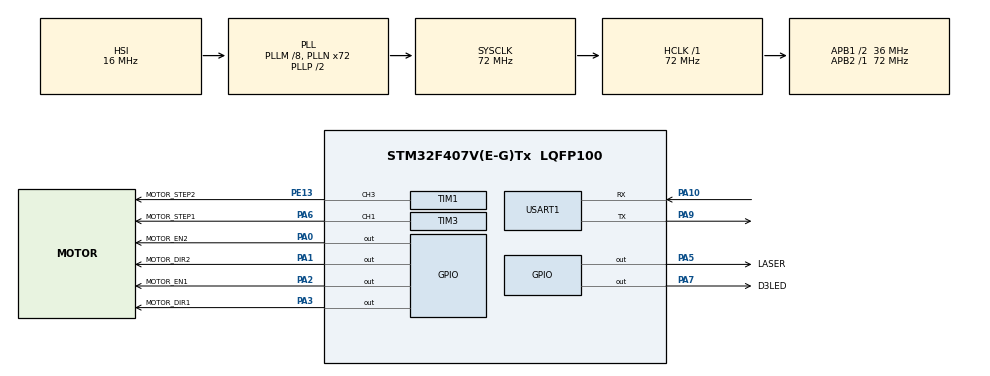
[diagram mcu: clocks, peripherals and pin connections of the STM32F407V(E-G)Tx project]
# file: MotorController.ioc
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Mcu.Family=STM32F4
Mcu.Name=STM32F407V(E-G)Tx
Mcu.Package=LQFP100
NVIC.PriorityGroup=NVIC_PRIORITYGROUP_4
NVIC.USART1_IRQn=true\:3\:0\:true\:false\:true\:true\:true\:true
PA0-WKUP.GPIO_Label=MOTOR_EN2
PA0-WKUP.Signal=GPIO_Output
PA1.GPIO_Label=MOTOR_DIR2
PA1.Signal=GPIO_Output
PA10.Mode=Asynchronous
PA10.Signal=USART1_RX
PA2.GPIO_Label=MOTOR_EN1
PA2.Signal=GPIO_Output
PA3.GPIO_Label=MOTOR_DIR1
PA3.Signal=GPIO_Output
PA5.GPIO_Label=LASER
PA5.Signal=GPIO_Output
PA6.GPIO_Label=MOTOR_STEP1
PA6.Signal=S_TIM3_CH1
PA7.GPIO_Label=D3LED
PA7.Signal=GPIO_Output
PA9.Mode=Asynchronous
PA9.Signal=USART1_TX
PE13.GPIO_Label=MOTOR_STEP2
PE13.Signal=S_TIM1_CH3
ProjectManager.HeapSize=0x200
ProjectManager.StackSize=0x400
ProjectManager.TargetToolchain=CMake
RCC.48MHZClocksFreq_Value=36000000
RCC.AHBFreq_Value=72000000
RCC.APB1CLKDivider=RCC_HCLK_DIV2
RCC.APB1Freq_Value=36000000
RCC.APB1TimFreq_Value=72000000
RCC.APB2Freq_Value=72000000
RCC.APB2TimFreq_Value=72000000
RCC.CortexFreq_Value=72000000
RCC.HCLKFreq_Value=72000000
RCC.HSE_VALUE=25000000
RCC.HSI_VALUE=16000000
RCC.LSE_VALUE=32768
RCC.PLLM=8
RCC.PLLN=72
RCC.SYSCLKFreq_VALUE=72000000
RCC.SYSCLKSource=RCC_SYSCLKSOURCE_PLLCLK
RCC.VCOOutputFreq_Value=144000000
SH.S_TIM1_CH3.0=TIM1_CH3,PWM Generation3 CH3
SH.S_TIM3_CH1.0=TIM3_CH1,PWM Generation1 CH1
TIM1.AutoReloadPreload=TIM_AUTORELOAD_PRELOAD_ENABLE
TIM1.AutomaticOutput=TIM_AUTOMATICOUTPUT_ENABLE
TIM1.Channel-PWM\ Generation3\ CH3=TIM_CHANNEL_3
TIM1.OCFastMode_PWM-PWM\ Generation3\ CH3=TIM_OCFAST_ENABLE
TIM1.Period=999
TIM1.Prescaler=71
TIM1.Pulse-PWM\ Generation3\ CH3=500
TIM3.AutoReloadPreload=TIM_AUTORELOAD_PRELOAD_ENABLE
TIM3.Channel-PWM\ Generation1\ CH1=TIM_CHANNEL_1
TIM3.OCFastMode_PWM-PWM\ Generation1\ CH1=TIM_OCFAST_ENABLE
TIM3.Period=999
TIM3.Prescaler=71
TIM3.Pulse-PWM\ Generation1\ CH1=500
USART1.VirtualMode=VM_ASYNC
board=custom

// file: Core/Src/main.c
/* USER CODE BEGIN Header */
/**
 ******************************************************************************
 * @file           : main.c
 * @brief          : Main program body
 ******************************************************************************
 * @attention
 *
 * Copyright (c) 2026 STMicroelectronics.
 * All rights reserved.
 *
 * This software is licensed under terms that can be found in the LICENSE file
 * in the root directory of this software component.
 * If no LICENSE file comes with this software, it is provided AS-IS.
 *
 ******************************************************************************
 */
/* USER CODE END Header */
#include "main.h"

/* USER CODE BEGIN Includes */
#include "motion_ctrl.h"
#include "uart_parser.h"

/* USER CODE END Includes */

TIM_HandleTypeDef htim1;
TIM_HandleTypeDef htim3;

UART_HandleTypeDef huart1;

/* USER CODE BEGIN PV */
static uint32_t s_last_ctrl_tick = 0U;
static uint32_t s_last_laser_cycle = 0U;
static uint32_t s_laser_pwm_toggle_cycles = 0U;
static uint32_t s_laser_idle_toggle_cycles = 0U;
static const uint32_t s_laser_frequency_hz = 38000U; // 38kHz required by doc.md
static const uint32_t s_laser_idle_hz = 50U;         // 50Hz idle aiming
static const UartParserMode_t s_uart_mode = UART_PARSER_MODE_IT;

// State machine variables for laser commands
static uint8_t s_laser_cmd_type = 0;
static uint8_t s_laser_pulse_count = 0;
static uint32_t s_laser_state_tick = 0U;
static enum {
    LASER_IDLE,
    LASER_PULSE_ON,
    LASER_PULSE_OFF
} s_laser_state = LASER_IDLE;
/* USER CODE END PV */

void SystemClock_Config(void);
static void MX_GPIO_Init(void);
static void MX_TIM3_Init(void);
static void MX_USART1_UART_Init(void);
static void MX_TIM1_Init(void);

/* USER CODE BEGIN 0 */
void App_StartLaserCmd(uint8_t cmd) {
    if (cmd == 1 || cmd == 2 || cmd == 3) {
        s_laser_cmd_type = cmd;
        s_laser_pulse_count = 0;
        s_laser_state = LASER_PULSE_ON;
        s_laser_state_tick = HAL_GetTick();
    }
}

static void LaserTiming_Init(void) {
    CoreDebug->DEMCR |= CoreDebug_DEMCR_TRCENA_Msk;
    DWT->CYCCNT = 0U;
    DWT->CTRL |= DWT_CTRL_CYCCNTENA_Msk;

    s_laser_pwm_toggle_cycles = HAL_RCC_GetHCLKFreq() / (2U * s_laser_frequency_hz);
    if (s_laser_pwm_toggle_cycles == 0U) {
        s_laser_pwm_toggle_cycles = 1U;
    }
    s_laser_idle_toggle_cycles = HAL_RCC_GetHCLKFreq() / (2U * s_laser_idle_hz);
    s_last_laser_cycle = DWT->CYCCNT;
}

/* USER CODE END 0 */

int main(void)
{

  /* MCU Configuration--------------------------------------------------------*/

  /* Reset of all peripherals, Initializes the Flash interface and the Systick. */
  HAL_Init();

  /* Configure the system clock */
  SystemClock_Config();

  /* Initialize all configured peripherals */
  MX_GPIO_Init();
  MX_TIM3_Init();
  MX_USART1_UART_Init();
  MX_TIM1_Init();
  /* USER CODE BEGIN 2 */
    LaserTiming_Init();
    MotionCtrl_Init();
    if (UartParser_Init(&huart1, s_uart_mode) != HAL_OK) {
        Error_Handler();
    }

  /* USER CODE END 2 */

  /* Infinite loop */
    while (1) {

    /* USER CODE BEGIN 3 */
        uint32_t now_cycle = DWT->CYCCNT;

        if (s_laser_state == LASER_IDLE) {
            // Restore 50Hz idle pulsing so the laser is visible for aiming
            if ((now_cycle - s_last_laser_cycle) >= s_laser_idle_toggle_cycles) {
                s_last_laser_cycle = now_cycle;
                HAL_GPIO_TogglePin(LASER_GPIO_Port, LASER_Pin);
            }
        }
        else if (s_laser_state == LASER_PULSE_ON) {
            // Software 38kHz PWM
            if ((now_cycle - s_last_laser_cycle) >= s_laser_pwm_toggle_cycles) {
                s_last_laser_cycle = now_cycle;
                HAL_GPIO_TogglePin(LASER_GPIO_Port, LASER_Pin);
            }

            uint16_t duration = (s_laser_cmd_type == 1) ? 2 : ((s_laser_cmd_type == 2) ? 4 : 6);
            if ((HAL_GetTick() - s_laser_state_tick) >= duration) {
                s_laser_state = LASER_PULSE_OFF;
                s_laser_state_tick = HAL_GetTick();
                HAL_GPIO_WritePin(LASER_GPIO_Port, LASER_Pin, GPIO_PIN_RESET);
            }
        } else if (s_laser_state == LASER_PULSE_OFF) {
            if ((HAL_GetTick() - s_laser_state_tick) >= 10) {
                s_laser_pulse_count++;
                if (s_laser_pulse_count >= 3) {
                    s_laser_state = LASER_IDLE;
                    s_laser_cmd_type = 0;
                } else {
                    s_laser_state = LASER_PULSE_ON;
                    s_laser_state_tick = HAL_GetTick();
                }
            }
        }

        if ((HAL_GetTick() - s_last_ctrl_tick) >= 1U) {
            s_last_ctrl_tick = HAL_GetTick();
            MotionCtrl_1msTask();
        }
    }
  /* USER CODE END 3 */
}

void SystemClock_Config(void)
{
  RCC_OscInitTypeDef RCC_OscInitStruct = {0};
  RCC_ClkInitTypeDef RCC_ClkInitStruct = {0};

  /** Configure the main internal regulator output voltage
  */
  __HAL_RCC_PWR_CLK_ENABLE();
  __HAL_PWR_VOLTAGESCALING_CONFIG(PWR_REGULATOR_VOLTAGE_SCALE1);

  /** Initializes the RCC Oscillators according to the specified parameters
  * in the RCC_OscInitTypeDef structure.
  */
  RCC_OscInitStruct.OscillatorType = RCC_OSCILLATORTYPE_HSI;
  RCC_OscInitStruct.HSIState = RCC_HSI_ON;
  RCC_OscInitStruct.HSICalibrationValue = RCC_HSICALIBRATION_DEFAULT;
  RCC_OscInitStruct.PLL.PLLState = RCC_PLL_ON;
  RCC_OscInitStruct.PLL.PLLSource = RCC_PLLSOURCE_HSI;
  RCC_OscInitStruct.PLL.PLLM = 8;
  RCC_OscInitStruct.PLL.PLLN = 72;
  RCC_OscInitStruct.PLL.PLLP = RCC_PLLP_DIV2;
  RCC_OscInitStruct.PLL.PLLQ = 4;
  if (HAL_RCC_OscConfig(&RCC_OscInitStruct) != HAL_OK)
  {
    Error_Handler();
  }

  /** Initializes the CPU, AHB and APB buses clocks
  */
  RCC_ClkInitStruct.ClockType = RCC_CLOCKTYPE_HCLK|RCC_CLOCKTYPE_SYSCLK
                              |RCC_CLOCKTYPE_PCLK1|RCC_CLOCKTYPE_PCLK2;
  RCC_ClkInitStruct.SYSCLKSource = RCC_SYSCLKSOURCE_PLLCLK;
  RCC_ClkInitStruct.AHBCLKDivider = RCC_SYSCLK_DIV1;
  RCC_ClkInitStruct.APB1CLKDivider = RCC_HCLK_DIV2;
  RCC_ClkInitStruct.APB2CLKDivider = RCC_HCLK_DIV1;

  if (HAL_RCC_ClockConfig(&RCC_ClkInitStruct, FLASH_LATENCY_2) != HAL_OK)
  {
    Error_Handler();
  }
}

static void MX_TIM1_Init(void)
{

  TIM_MasterConfigTypeDef sMasterConfig = {0};
  TIM_OC_InitTypeDef sConfigOC = {0};
  TIM_BreakDeadTimeConfigTypeDef sBreakDeadTimeConfig = {0};

  htim1.Instance = TIM1;
  htim1.Init.Prescaler = 71;
  htim1.Init.CounterMode = TIM_COUNTERMODE_UP;
  htim1.Init.Period = 999;
  htim1.Init.ClockDivision = TIM_CLOCKDIVISION_DIV1;
  htim1.Init.RepetitionCounter = 0;
  htim1.Init.AutoReloadPreload = TIM_AUTORELOAD_PRELOAD_ENABLE;
  if (HAL_TIM_PWM_Init(&htim1) != HAL_OK)
  {
    Error_Handler();
  }
  sMasterConfig.MasterOutputTrigger = TIM_TRGO_RESET;
  sMasterConfig.MasterSlaveMode = TIM_MASTERSLAVEMODE_DISABLE;
  if (HAL_TIMEx_MasterConfigSynchronization(&htim1, &sMasterConfig) != HAL_OK)
  {
    Error_Handler();
  }
  sConfigOC.OCMode = TIM_OCMODE_PWM1;
  sConfigOC.Pulse = 500;
  sConfigOC.OCPolarity = TIM_OCPOLARITY_HIGH;
  sConfigOC.OCNPolarity = TIM_OCNPOLARITY_HIGH;
  sConfigOC.OCFastMode = TIM_OCFAST_ENABLE;
  sConfigOC.OCIdleState = TIM_OCIDLESTATE_RESET;
  sConfigOC.OCNIdleState = TIM_OCNIDLESTATE_RESET;
  if (HAL_TIM_PWM_ConfigChannel(&htim1, &sConfigOC, TIM_CHANNEL_3) != HAL_OK)
  {
    Error_Handler();
  }
  sBreakDeadTimeConfig.OffStateRunMode = TIM_OSSR_DISABLE;
  sBreakDeadTimeConfig.OffStateIDLEMode = TIM_OSSI_DISABLE;
  sBreakDeadTimeConfig.LockLevel = TIM_LOCKLEVEL_OFF;
  sBreakDeadTimeConfig.DeadTime = 0;
  sBreakDeadTimeConfig.BreakState = TIM_BREAK_DISABLE;
  sBreakDeadTimeConfig.BreakPolarity = TIM_BREAKPOLARITY_HIGH;
  sBreakDeadTimeConfig.AutomaticOutput = TIM_AUTOMATICOUTPUT_ENABLE;
  if (HAL_TIMEx_ConfigBreakDeadTime(&htim1, &sBreakDeadTimeConfig) != HAL_OK)
  {
    Error_Handler();
  }
  HAL_TIM_MspPostInit(&htim1);

}

static void MX_TIM3_Init(void)
{

  TIM_MasterConfigTypeDef sMasterConfig = {0};
  TIM_OC_InitTypeDef sConfigOC = {0};

  htim3.Instance = TIM3;
  htim3.Init.Prescaler = 71;
  htim3.Init.CounterMode = TIM_COUNTERMODE_UP;
  htim3.Init.Period = 999;
  htim3.Init.ClockDivision = TIM_CLOCKDIVISION_DIV1;
  htim3.Init.AutoReloadPreload = TIM_AUTORELOAD_PRELOAD_ENABLE;
  if (HAL_TIM_PWM_Init(&htim3) != HAL_OK)
  {
    Error_Handler();
  }
  sMasterConfig.MasterOutputTrigger = TIM_TRGO_RESET;
  sMasterConfig.MasterSlaveMode = TIM_MASTERSLAVEMODE_DISABLE;
  if (HAL_TIMEx_MasterConfigSynchronization(&htim3, &sMasterConfig) != HAL_OK)
  {
    Error_Handler();
  }
  sConfigOC.OCMode = TIM_OCMODE_PWM1;
  sConfigOC.Pulse = 500;
  sConfigOC.OCPolarity = TIM_OCPOLARITY_HIGH;
  sConfigOC.OCFastMode = TIM_OCFAST_ENABLE;
  if (HAL_TIM_PWM_ConfigChannel(&htim3, &sConfigOC, TIM_CHANNEL_1) != HAL_OK)
  {
    Error_Handler();
  }
  HAL_TIM_MspPostInit(&htim3);

}

static void MX_USART1_UART_Init(void)
{

  huart1.Instance = USART1;
  huart1.Init.BaudRate = 115200;
  huart1.Init.WordLength = UART_WORDLENGTH_8B;
  huart1.Init.StopBits = UART_STOPBITS_1;
  huart1.Init.Parity = UART_PARITY_NONE;
  huart1.Init.Mode = UART_MODE_TX_RX;
  huart1.Init.HwFlowCtl = UART_HWCONTROL_NONE;
  huart1.Init.OverSampling = UART_OVERSAMPLING_16;
  if (HAL_UART_Init(&huart1) != HAL_OK)
  {
    Error_Handler();
  }

}

static void MX_GPIO_Init(void)
{
  GPIO_InitTypeDef GPIO_InitStruct = {0};

  /* GPIO Ports Clock Enable */
  __HAL_RCC_GPIOA_CLK_ENABLE();
  __HAL_RCC_GPIOE_CLK_ENABLE();

  /*Configure GPIO pin Output Level */
  HAL_GPIO_WritePin(GPIOA, MOTOR_EN2_Pin|MOTOR_DIR2_Pin|MOTOR_EN1_Pin|MOTOR_DIR1_Pin
                          |LASER_Pin|D3LED_Pin, GPIO_PIN_RESET);

  /*Configure GPIO pins : MOTOR_EN2_Pin MOTOR_DIR2_Pin MOTOR_EN1_Pin MOTOR_DIR1_Pin
                           LASER_Pin D3LED_Pin */
  GPIO_InitStruct.Pin = MOTOR_EN2_Pin|MOTOR_DIR2_Pin|MOTOR_EN1_Pin|MOTOR_DIR1_Pin
                          |LASER_Pin|D3LED_Pin;
  GPIO_InitStruct.Mode = GPIO_MODE_OUTPUT_PP;
  GPIO_InitStruct.Pull = GPIO_NOPULL;
  GPIO_InitStruct.Speed = GPIO_SPEED_FREQ_LOW;
  HAL_GPIO_Init(GPIOA, &GPIO_InitStruct);

}

/* USER CODE BEGIN 4 */
void UartParser_OnFrameReceived(void) { HAL_GPIO_WritePin(D3LED_GPIO_Port, D3LED_Pin, GPIO_PIN_SET); }

void HAL_UART_RxCpltCallback(UART_HandleTypeDef* huart) { UartParser_OnRxCpltCallback(huart); }

void HAL_UART_ErrorCallback(UART_HandleTypeDef* huart) { UartParser_OnErrorCallback(huart); }

/* USER CODE END 4 */

void Error_Handler(void)
{
    __disable_irq();
    while (1) {
    }
}
#ifdef USE_FULL_ASSERT
/**
  * @brief  Reports the name of the source file and the source line number
  *         where the assert_param error has occurred.
  * @param  file: pointer to the source file name
  * @param  line: assert_param error line source number
  * @retval None
  */
void assert_failed(uint8_t *file, uint32_t line)
{
  /* USER CODE BEGIN 6 */
    /* User can add his own implementation to report the file name and line
       number, ex: printf("Wrong parameters value: file %s on line %d\r\n", file,
       line) */
  /* USER CODE END 6 */
}
#endif /* USE_FULL_ASSERT */
